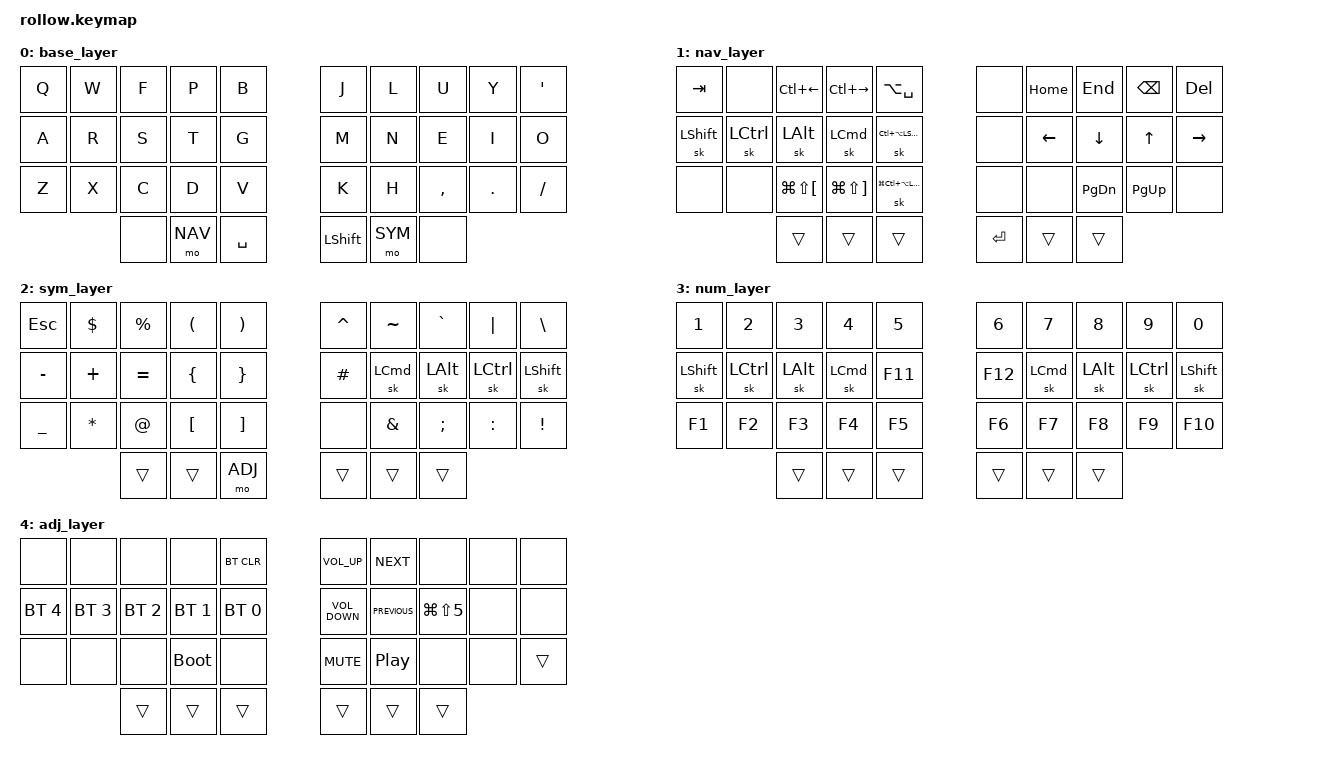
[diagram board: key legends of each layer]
/*
 * Copyright (c) 2020 The ZMK Contributors
 *
 * SPDX-License-Identifier: MIT
 */

#define ROLLOW

#include <behaviors.dtsi>
#include <dt-bindings/zmk/keys.h>
#include <dt-bindings/zmk/bt.h>
#include <dt-bindings/zmk/outputs.h>

#define BASE    0
#define NAV     1
#define SYM     2
#define NUM     3
#define ADJ     4

#define HYPER       &sk LG(LC(LA(LSHFT)))
#define MEH         &sk LC(LA(LSHFT))
#define SPACE_LEFT  &kp LC(LEFT)
#define SPACE_RIGHT &kp LC(RIGHT)
#define TAB_LEFT    &kp LG(LS(LBKT))
#define TAB_RIGHT   &kp LG(LS(RBKT))
#define ALFRED      &kp LA(SPACE)
#define SCREENSHOT  &kp LG(LS(N5))

#define BTClear &bt BT_CLR
#define BT0     &bt BT_SEL 0
#define BT1     &bt BT_SEL 1
#define BT2     &bt BT_SEL 2
#define BT3     &bt BT_SEL 3
#define BT4     &bt BT_SEL 4

#define TAPPING_TERM 150
#define TAPPING_TERM_GUIALT 200
#define TAPPING_TERM_PINKY 200

&lt {
    flavor = "tap-preferred";
    tapping-term-ms = <TAPPING_TERM>;
};

&mt {
    flavor = "tap-preferred";
    tapping-term-ms = <TAPPING_TERM>;
};

&sk {
        quick-release;
};

/ {
    chosen {
        zmk,matrix_transform = &five_column_transform;
    };

    behaviors {
    };

     conditional_layers {
        compatible = "zmk,conditional-layers";
    
        tri_layer {
            if-layers = <SYM NAV>;
            then-layer = <NUM>;
        };
    };

    keymap {
        compatible = "zmk,keymap";
        base_layer {
            bindings = <
                &kp Q       &kp W       &kp F       &kp P       &kp B       &kp J       &kp L       &kp U       &kp Y       &kp SQT
                &kp A       &kp R       &kp S       &kp T       &kp G       &kp M       &kp N       &kp E       &kp I       &kp O   
                &kp Z       &kp X       &kp C       &kp D       &kp V       &kp K       &kp H       &kp COMMA   &kp DOT     &kp FSLH 
                                        &none       &mo NAV     &kp SPACE   &kp LSHFT   &mo SYM     &none
            >;
        };

        nav_layer {
            bindings = <
            &kp TAB   &none     SPACE_LEFT  SPACE_RIGHT ALFRED      &none     &kp HOME  &kp END   &kp BSPC  &kp DEL
            &sk LSHFT &sk LCTRL &sk LALT    &sk LCMD    MEH         &none     &kp LEFT  &kp DOWN  &kp UP    &kp RIGHT 
            &none     &none     TAB_LEFT    TAB_RIGHT   HYPER       &none     &none     &kp PG_DN &kp PG_UP &none   
                                &trans      &trans      &trans      &kp ENTER &trans    &trans
                >;
        };

        sym_layer {
            bindings = <
            &kp ESC     &kp DLLR    &kp PRCNT   &kp LPAR    &kp RPAR    &kp CARET   &kp TILDE   &kp GRAVE   &kp PIPE    &kp BSLH
            &kp MINUS   &kp PLUS    &kp EQUAL   &kp LBRC    &kp RBRC    &kp HASH    &sk LCMD    &sk LALT    &sk LCTRL   &sk LSHFT  
            &kp UNDER   &kp STAR    &kp AT      &kp LBKT    &kp RBKT    &none       &kp AMPS    &kp SEMI    &kp COLON   &kp EXCL  
                                    &trans      &trans      &mo ADJ     &trans      &trans      &trans
            >;
        };

        num_layer {
            bindings = <
          &kp N1    &kp N2    &kp N3    &kp N4     &kp N5      &kp N6    &kp N7     &kp N8     &kp N9     &kp N0   
          &sk LSHFT &sk LCTRL &sk LALT  &sk LCMD   &kp F11     &kp F12   &sk LCMD   &sk LALT   &sk LCTRL  &sk LSHFT  
          &kp F1    &kp F2    &kp F3    &kp F4     &kp F5      &kp F6    &kp F7     &kp F8     &kp F9     &kp F10   
                              &trans    &trans     &trans      &trans    &trans     &trans
            >;
        };

        adj_layer {
            bindings = <
                &none     &none     &none     &none           BTClear         &kp C_VOLUME_UP   &kp C_NEXT         &none       &none     &none
                BT4       BT3       BT2       BT1             BT0             &kp C_VOLUME_DOWN &kp C_PREVIOUS     SCREENSHOT  &none     &none
                &none     &none     &none     &bootloader     &none           &kp C_MUTE        &kp C_PLAY_PAUSE   &none       &none     &trans
                                    &trans    &trans          &trans          &trans            &trans          &trans      
            >;
        };

    };
};
